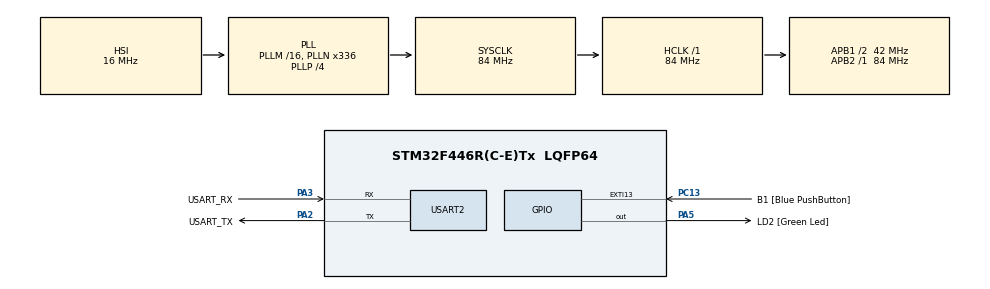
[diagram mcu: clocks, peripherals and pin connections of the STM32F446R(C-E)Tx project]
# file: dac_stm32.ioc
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Mcu.Family=STM32F4
Mcu.Name=STM32F446R(C-E)Tx
Mcu.Package=LQFP64
NVIC.PriorityGroup=NVIC_PRIORITYGROUP_0
PA13.GPIO_Label=TMS
PA13.Mode=Serial_Wire
PA13.Signal=SYS_JTMS-SWDIO
PA14.GPIO_Label=TCK
PA14.Mode=Serial_Wire
PA14.Signal=SYS_JTCK-SWCLK
PA2.GPIO_Label=USART_TX
PA2.Mode=Asynchronous
PA2.Signal=USART2_TX
PA3.GPIO_Label=USART_RX
PA3.Mode=Asynchronous
PA3.Signal=USART2_RX
PA5.GPIO_Label=LD2 [Green Led]
PA5.Signal=GPIO_Output
PB3.GPIO_Label=SWO
PB3.Signal=SYS_JTDO-SWO
PC13.GPIO_Label=B1 [Blue PushButton]
PC13.GPIO_ModeDefaultEXTI=GPIO_MODE_IT_FALLING
PC13.Signal=GPXTI13
PC14-OSC32_IN.Mode=LSE-External-Oscillator
PC14-OSC32_IN.Signal=RCC_OSC32_IN
PC15-OSC32_OUT.Mode=LSE-External-Oscillator
PC15-OSC32_OUT.Signal=RCC_OSC32_OUT
PH0-OSC_IN.Mode=HSE-External-Oscillator
PH0-OSC_IN.Signal=RCC_OSC_IN
PH1-OSC_OUT.Mode=HSE-External-Oscillator
PH1-OSC_OUT.Signal=RCC_OSC_OUT
ProjectManager.HeapSize=0x200
ProjectManager.StackSize=0x400
ProjectManager.TargetToolchain=STM32CubeIDE
RCC.48MHZClocksFreq_Value=84000000
RCC.AHBFreq_Value=84000000
RCC.APB1CLKDivider=RCC_HCLK_DIV2
RCC.APB1Freq_Value=42000000
RCC.APB1TimFreq_Value=84000000
RCC.APB2Freq_Value=84000000
RCC.APB2TimFreq_Value=84000000
RCC.CortexFreq_Value=84000000
RCC.FLatency-AdvancedSettings=FLASH_LATENCY_2
RCC.HCLKFreq_Value=84000000
RCC.HSE_VALUE=8000000
RCC.HSI_VALUE=16000000
RCC.PLLN=336
RCC.PLLP=RCC_PLLP_DIV4
RCC.SYSCLKFreq_VALUE=84000000
RCC.SYSCLKSource=RCC_SYSCLKSOURCE_PLLCLK
RCC.USBFreq_Value=168000000
RCC.VCOOutputFreq_Value=336000000
USART2.VirtualMode=VM_ASYNC
board=NUCLEO-F446RE

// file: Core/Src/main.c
/* USER CODE BEGIN Header */
/**
  ******************************************************************************
  * @file           : main.c
  * @brief          : Main program body
  ******************************************************************************
  * @attention
  *
  * Copyright (c) 2024 STMicroelectronics.
  * All rights reserved.
  *
  * This software is licensed under terms that can be found in the LICENSE file
  * in the root directory of this software component.
  * If no LICENSE file comes with this software, it is provided AS-IS.
  *
  ******************************************************************************
  */
/* USER CODE END Header */
#include "main.h"

UART_HandleTypeDef huart2;

void SystemClock_Config(void);
static void MX_GPIO_Init(void);
static void MX_USART2_UART_Init(void);

int main(void)
{

  /* MCU Configuration--------------------------------------------------------*/

  /* Reset of all peripherals, Initializes the Flash interface and the Systick. */
  HAL_Init();

  /* Configure the system clock */
  SystemClock_Config();

  /* Initialize all configured peripherals */
  MX_GPIO_Init();
  MX_USART2_UART_Init();
  /* USER CODE BEGIN 2 */

  uint32_t dac_value;

  // Clock to GPIOA (bit 0)
  RCC->AHB1ENR |= RCC_AHB1ENR_GPIOAEN;

  // GPIOA4 : Analog mode
  GPIOA->MODER &= ~(0x03 << 8);
  GPIOA->MODER |= 0x00000300; // Set pin 4 in Analog Mode

  // Clock to DAC (bit 29 of APB1ENR)
  RCC->APB1ENR |= RCC_APB1ENR_DACEN;

  // DAC configuration
  DAC->CR |= (0x01 << 0); // enable DAC channel 1
  DAC->CR |= (0x00 << 1); // enable DAC ch1 output buffer
  DAC->CR |= (0x01 << 2); // enable Trigger
  DAC->CR |= (0x07 << 3); // choose Software Trigger as source (0b111)

  // set output to Vref * (dac_value/0xFFF)
  DAC->DHR12R1 = dac_value; 	// Different registers for different data formats (12 bits right alignments)
  // Data is stored inside the DHR1 register for future output conversion
  DAC->SWTRIGR |= (0x01 << 0); // trigger ch1
  // With this software trigger data is loaded within DOR register for output conversion
  /* USER CODE END 2 */

  /* Infinite loop */
  while (1)
  {

    /* USER CODE BEGIN 3 */
	  for(dac_value = 0x00; dac_value < 0xFFF; dac_value += 0x010) {
		  DAC->DHR12R1 = dac_value;
		  DAC->SWTRIGR |= (1 << 0 ); // trigger ch1
		  HAL_Delay(5);
	  }
  }
  /* USER CODE END 3 */
}

void SystemClock_Config(void)
{
  RCC_OscInitTypeDef RCC_OscInitStruct = {0};
  RCC_ClkInitTypeDef RCC_ClkInitStruct = {0};

  /** Configure the main internal regulator output voltage
  */
  __HAL_RCC_PWR_CLK_ENABLE();
  __HAL_PWR_VOLTAGESCALING_CONFIG(PWR_REGULATOR_VOLTAGE_SCALE3);

  /** Initializes the RCC Oscillators according to the specified parameters
  * in the RCC_OscInitTypeDef structure.
  */
  RCC_OscInitStruct.OscillatorType = RCC_OSCILLATORTYPE_HSI;
  RCC_OscInitStruct.HSIState = RCC_HSI_ON;
  RCC_OscInitStruct.HSICalibrationValue = RCC_HSICALIBRATION_DEFAULT;
  RCC_OscInitStruct.PLL.PLLState = RCC_PLL_ON;
  RCC_OscInitStruct.PLL.PLLSource = RCC_PLLSOURCE_HSI;
  RCC_OscInitStruct.PLL.PLLM = 16;
  RCC_OscInitStruct.PLL.PLLN = 336;
  RCC_OscInitStruct.PLL.PLLP = RCC_PLLP_DIV4;
  RCC_OscInitStruct.PLL.PLLQ = 2;
  RCC_OscInitStruct.PLL.PLLR = 2;
  if (HAL_RCC_OscConfig(&RCC_OscInitStruct) != HAL_OK)
  {
    Error_Handler();
  }

  /** Initializes the CPU, AHB and APB buses clocks
  */
  RCC_ClkInitStruct.ClockType = RCC_CLOCKTYPE_HCLK|RCC_CLOCKTYPE_SYSCLK
                              |RCC_CLOCKTYPE_PCLK1|RCC_CLOCKTYPE_PCLK2;
  RCC_ClkInitStruct.SYSCLKSource = RCC_SYSCLKSOURCE_PLLCLK;
  RCC_ClkInitStruct.AHBCLKDivider = RCC_SYSCLK_DIV1;
  RCC_ClkInitStruct.APB1CLKDivider = RCC_HCLK_DIV2;
  RCC_ClkInitStruct.APB2CLKDivider = RCC_HCLK_DIV1;

  if (HAL_RCC_ClockConfig(&RCC_ClkInitStruct, FLASH_LATENCY_2) != HAL_OK)
  {
    Error_Handler();
  }
}

static void MX_USART2_UART_Init(void)
{

  huart2.Instance = USART2;
  huart2.Init.BaudRate = 115200;
  huart2.Init.WordLength = UART_WORDLENGTH_8B;
  huart2.Init.StopBits = UART_STOPBITS_1;
  huart2.Init.Parity = UART_PARITY_NONE;
  huart2.Init.Mode = UART_MODE_TX_RX;
  huart2.Init.HwFlowCtl = UART_HWCONTROL_NONE;
  huart2.Init.OverSampling = UART_OVERSAMPLING_16;
  if (HAL_UART_Init(&huart2) != HAL_OK)
  {
    Error_Handler();
  }

}

static void MX_GPIO_Init(void)
{
  GPIO_InitTypeDef GPIO_InitStruct = {0};

  /* GPIO Ports Clock Enable */
  __HAL_RCC_GPIOC_CLK_ENABLE();
  __HAL_RCC_GPIOH_CLK_ENABLE();
  __HAL_RCC_GPIOA_CLK_ENABLE();
  __HAL_RCC_GPIOB_CLK_ENABLE();

  /*Configure GPIO pin Output Level */
  HAL_GPIO_WritePin(LD2_GPIO_Port, LD2_Pin, GPIO_PIN_RESET);

  /*Configure GPIO pin : B1_Pin */
  GPIO_InitStruct.Pin = B1_Pin;
  GPIO_InitStruct.Mode = GPIO_MODE_IT_FALLING;
  GPIO_InitStruct.Pull = GPIO_NOPULL;
  HAL_GPIO_Init(B1_GPIO_Port, &GPIO_InitStruct);

  /*Configure GPIO pin : LD2_Pin */
  GPIO_InitStruct.Pin = LD2_Pin;
  GPIO_InitStruct.Mode = GPIO_MODE_OUTPUT_PP;
  GPIO_InitStruct.Pull = GPIO_NOPULL;
  GPIO_InitStruct.Speed = GPIO_SPEED_FREQ_LOW;
  HAL_GPIO_Init(LD2_GPIO_Port, &GPIO_InitStruct);

}

void Error_Handler(void)
{
  __disable_irq();
  while (1)
  {
  }
}
